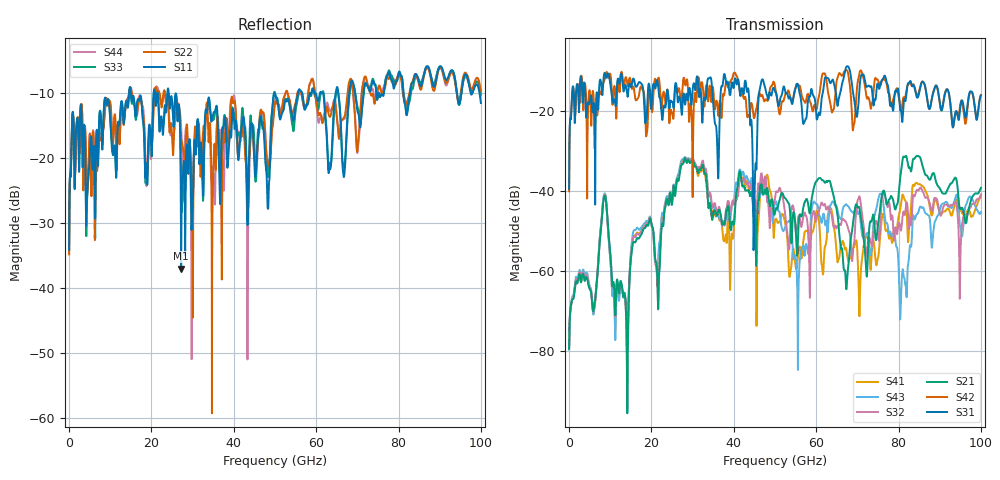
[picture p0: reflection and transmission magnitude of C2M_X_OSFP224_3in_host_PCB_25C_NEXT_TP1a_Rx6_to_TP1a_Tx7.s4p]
# GHz S RI R 45
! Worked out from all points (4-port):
!   4000 points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, 25 MHz to 100 GHz, reference 45 ohm
!   strongest paths, dB at 25 MHz, 25.02 GHz, 50.02 GHz, 75.03 GHz, 100 GHz:
!     S31: -39.5, -17.7, -15.1, -13.3, -16.1
!     S42: -40.1, -20.6, -13.9, -12.3, -15.9
!     S21: -79.6, -43.3, -45.5, -48.6, -39.2
!     S32: -78.7, -42.0, -41.6, -50.3, -40.9
!     S43: -79.7, -41.2, -43.0, -42.3, -45.3
!     S41: -79.3, -42.8, -47.3, -56.8, -41.2
!   lowest |S11| = -37.0 dB at 27.23 GHz (marker M1), VSWR 1.03, Z = 45 - j1.26 ohm
!   |S11| at or under -10 dB: start of sweep to 14.56 GHz; 15.01 GHz to 20.57 GHz (5.562 GHz wide, 31.3 % of centre); 24.19 GHz to 55.62 GHz (31.42 GHz wide, 78.7 % of centre) (the widest 3 of 17)
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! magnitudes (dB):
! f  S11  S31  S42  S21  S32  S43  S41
! 25 MHz  -34.1  -39.5  -40.1  -79.6  -78.7  -79.7  -79.3
! 27.23 GHz  -37.0  -19.4  -17.7  -33.5  -33.2  -32.6  -33.0
! 43.1 GHz  -22.2  -14.5  -19.4  -39.8  -38.2  -36.3  -37.6
! 45.08 GHz  -22.0  -40.0  -21.4  -44.9  -42.0  -43.2  -43.4
! 46.7 GHz  -14.4  -12.5  -16.2  -38.3  -35.6  -36.9  -39.9
! 55.55 GHz  -10.3  -13.3  -13.4  -53.2  -47.3  -80.0  -56.7
! 100 GHz  -11.6  -16.1  -15.9  -39.2  -40.9  -45.3  -41.2
